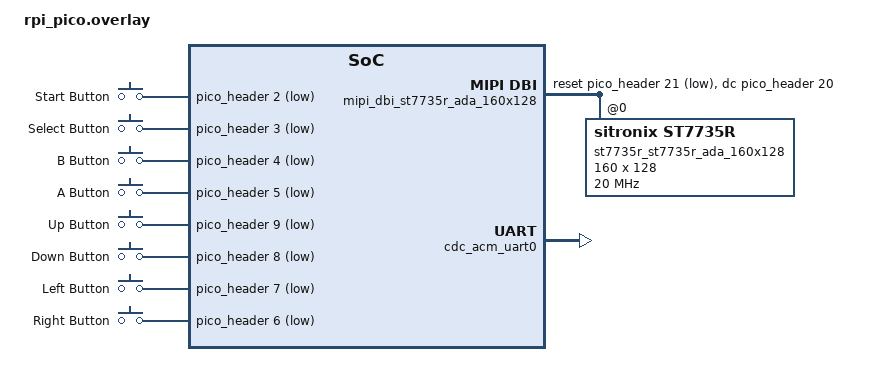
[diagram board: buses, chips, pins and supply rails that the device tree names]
/*
 * Copyright (c) 2020, Kim Bøndergaard, <kim@fam-boendergaard.dk>
 *
 * SPDX-License-Identifier: Apache-2.0
 */
 #include <zephyr/dt-bindings/mipi_dbi/mipi_dbi.h>
 #include <zephyr/dt-bindings/led/led.h>

 / {
	chosen {
		zephyr,console = &cdc_acm_uart0;
		zephyr,shell-uart = &cdc_acm_uart0;
		zephyr,uart-mcumgr = &cdc_acm_uart0;
		zephyr,display = &st7735r_st7735r_ada_160x128;
	};

	buttons {
		compatible = "gpio-keys";
		start_button: start_button {
			gpios = <&pico_header 2 (GPIO_ACTIVE_LOW | GPIO_PULL_UP)>;
			label = "Start Button";
		};
		select_button: select_button {
			gpios = <&pico_header 3 (GPIO_ACTIVE_LOW | GPIO_PULL_UP)>;
			label = "Select Button";
		};
		b_button: b_button {
			gpios = <&pico_header 4 (GPIO_ACTIVE_LOW | GPIO_PULL_UP)>;
			label = "B Button";
		};
		a_button: a_button {
			gpios = <&pico_header 5 (GPIO_ACTIVE_LOW | GPIO_PULL_UP)>;
			label = "A Button";
		};
		up_button: up_button {
			gpios = <&pico_header 9 (GPIO_ACTIVE_LOW | GPIO_PULL_UP)>;
			label = "Up Button";
		};
		down_button: down_button {
			gpios = <&pico_header 8 (GPIO_ACTIVE_LOW | GPIO_PULL_UP)>;
			label = "Down Button";
		};
		left_button: left_button {
			gpios = <&pico_header 7 (GPIO_ACTIVE_LOW | GPIO_PULL_UP)>;
			label = "Left Button";
		};
		right_button: right_button {
			gpios = <&pico_header 6 (GPIO_ACTIVE_LOW | GPIO_PULL_UP)>;
			label = "Right Button";
		};
	};

	mipi_dbi_st7735r_ada_160x128 {
		compatible = "zephyr,mipi-dbi-spi";
		spi-dev = <&spi0>;
		dc-gpios = <&pico_header 20 GPIO_ACTIVE_HIGH>;	/* D9 */
		reset-gpios = <&pico_header 21 GPIO_ACTIVE_LOW>;	/* D8 */
		#address-cells = <1>;
		#size-cells = <0>;

		st7735r_st7735r_ada_160x128: st7735r@0 {
			compatible = "sitronix,st7735r";
			mipi-max-frequency = <20000000>;
			mipi-mode = <MIPI_DBI_MODE_SPI_4WIRE>;
			reg = <0>;
			width = <160>;
			height = <128>;
			x-offset = <0>;
			y-offset = <0>;
			madctl = <0x60>;
			colmod = <0x55>;
			vmctr1 = <0x0e>;
			pwctr1 = [a2 02 84];
			pwctr2 = [c5];
			pwctr3 = [0a 00];
			pwctr4 = [8a 2a];
			pwctr5 = [8a ee];
			frmctr1 = [01 2c 2d];
			frmctr2 = [01 2c 2d];
			frmctr3 = [01 2c 2d 01 2c 2d];
			gamctrp1 = [02 1c 07 12 37 32 29 2d 29 25 2b 39 00 01 03 10];
			gamctrn1 = [03 1d 07 06 2e 2c 29 2d 2e 2e 37 3f 00 00 02 10];
		};
	};
	aliases {
		// buzzerpwm = &buzzer;
		led-strip = &ws2812;
	};

	// pwmbuzzer {
	// 	compatible = "pwm-leds";
	// 	status = "okay";

	// 	buzzer: buzzer_pwm {
	// 		pwms = <&pwm 0 PWM_HZ(880) PWM_POLARITY_NORMAL>;
	// 		label = "PWM_1";
	// 	};
	// };
};


// &spi1 {
//     compatible = "raspberrypi,spi";
//     status = "okay";
//     sck-pin = <10>;
//     mosi-pin = <11>;
//     miso-pin = <12>;

//     cs-gpios = <&pico_header 13 GPIO_ACTIVE_LOW>;

// 	sdhc0: sdhc@0 {
// 		compatible = "zephyr,sdhc-spi-slot";
// 		reg = <0>;
// 		status = "okay";
// 		mmc {
// 			compatible = "zephyr,sdmmc-disk";
// 			status = "okay";
// 		};
// 		spi-max-frequency = <24000000>;
// 	};
// };


&zephyr_udc0 {
	cdc_acm_uart0: cdc_acm_uart0 {
		compatible = "zephyr,cdc-acm-uart";
	};
};

&pio0 {
	status = "okay";

	pio-ws2812 {
		compatible = "worldsemi,ws2812-rpi_pico-pio";
		status = "okay";
		pinctrl-0 = <&ws2812_pio0_default>;
		pinctrl-names = "default";
		bit-waveform = <3>, <3>, <4>;

		ws2812: ws2812 {
			status = "okay";
			gpios = <&pico_header 15 GPIO_ACTIVE_HIGH>;
			chain-length = <256>;
			color-mapping = <LED_COLOR_ID_GREEN
							 LED_COLOR_ID_RED
							 LED_COLOR_ID_BLUE>;
			reset-delay = <280>;
			frequency = <800000>;
		};
	};
};

// &pwm {
// 	status="okay";
// 	pinctrl-0 = <&pwm_ch3a_default>;
// 	pinctrl-names = "default";
// 	divider-int-4 = <255>;
// };

// &i2c0 {
// 	mpu6050@68 {
// 		compatible = "invensense,mpu6050";
// 		reg = <0x68>;
// 		status = "okay";
// 		int-gpios = <&pico_header 6 GPIO_ACTIVE_HIGH>;
// 	};
// };

&pinctrl {
	// pwm_ch3a_default: pwm_ch3a_default {
	// 	group1 {
	// 		pinmux = <PWM_3A_P22>;
	// 	};
	// };
	ws2812_pio0_default: ws2812_pio0_default {
		ws2812 {
			pinmux = <PIO0_P15>;
		};
	};
};
